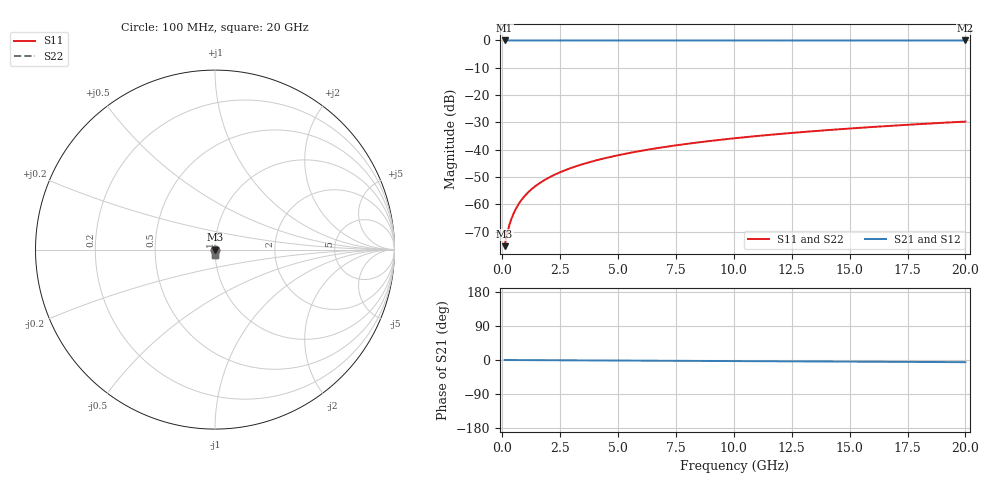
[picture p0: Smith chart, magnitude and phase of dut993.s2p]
! Touchstone file exported from HFSS 2026.1.0
!  File:  C:/ffzhzh/LocalFiles/Ansys_Project_Files/temp_train_TSV_993_1783188207_51560.aedt
!  Generated:  02:04:52 AM Jul  5, 2026
!  Design:  TSV
!  Project:  temp_train_TSV_993_1783188207_51560
! Variables:
!  h_bsmrdl = 2um
!  h_ox = 20um
!  h_rdl = 5um
!  h_sub = 55.47um
!  h_tmrdl = 5um
!  h_tsv = 55.47um
!  h_via = 3um
!  l_bsmrdl = 300um
!  l_sub = 418.2um
!  l_tmrdl = 200um
!  m_sub = 200um
!  pitch = 27.15um
!  r_tsv = 9.1um
!  s_tmrdl = 10um
!  w_bsmrdl = 18um
!  w_sub = 500um
!  w_tmrdl = 12um
!  x_tsv_center1 = 206um
!  x_tsv_center2 = 524um
!  x_tsv_center3 = 736um
!  x_tsv_center4 = 1054um
!  x_tsv_center5 = 1266um
!  x_tsv_center6 = 1584um
# GHz S MA R 50.000000
! Terminal data exported
! Port[1] = TSV1_1_T1
! Port[2] = TSV1_1_T2
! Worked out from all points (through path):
!   200 points, 100 MHz to 20 GHz, reference 50 ohm
!   highest |S21| = 0.00 dB at 100 MHz (marker M1); lowest = 0.0 dB at 20 GHz (marker M2)
!   lowest |S11| = -75.3 dB at 100 MHz (marker M3), VSWR 1.00, Z = 50 - j0.0123 ohm
!   |S11| at or under -10 dB: start of sweep to end of sweep
!   |S22| runs from -75.3 to -29.7 dB; largest |S21 - S12| = 7.6e-15
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0.1  0.0001715 -45.7  0.9999 -0.0  0.9999 -0.0  0.0001715 -45.7
! Gamma 0 0 0 0
! Port Impedance 50 0 50 0
0.2  0.0002824 -61.9  0.9999 -0.1  0.9999 -0.1  0.0002824 -61.9
0.3  0.0004109 -68.3  0.9998 -0.1  0.9998 -0.1  0.0004109 -68.3
0.4  0.0005495 -71.5  0.9998 -0.1  0.9998 -0.1  0.0005495 -71.5
0.5  0.0006952 -73.6  0.9998 -0.2  0.9998 -0.2  0.0006952 -73.6
0.6  0.000846 -75.2  0.9998 -0.2  0.9998 -0.2  0.000846 -75.2
0.8  0.001157 -77.4  0.9997 -0.2  0.9997 -0.2  0.001157 -77.4
1.1  0.001633 -79.8  0.9997 -0.3  0.9997 -0.3  0.001633 -79.8
1.3  0.001953 -81.0  0.9997 -0.4  0.9997 -0.4  0.001953 -81.0
1.5  0.002272 -81.9  0.9997 -0.4  0.9997 -0.4  0.002272 -81.9
1.8  0.002752 -83.0  0.9996 -0.5  0.9996 -0.5  0.002752 -83.0
2.1  0.003232 -83.8  0.9996 -0.6  0.9996 -0.6  0.003232 -83.8
2.7  0.004193 -85.0  0.9996 -0.8  0.9996 -0.8  0.004193 -85.0
3.5  0.005481 -86.0  0.9995 -1.0  0.9995 -1.0  0.005481 -86.0
4.2  0.006615 -86.7  0.9995 -1.2  0.9995 -1.2  0.006615 -86.7
5  0.007918 -87.3  0.9994 -1.4  0.9994 -1.4  0.007918 -87.3
6.8  0.01087 -88.4  0.9993 -2.0  0.9993 -2.0  0.01087 -88.4
8.3  0.01334 -89.2  0.9992 -2.4  0.9992 -2.4  0.01334 -89.2
10.1  0.01632 -90.0  0.999 -2.9  0.999 -2.9  0.01632 -90.0
13.4  0.02179 -91.3  0.9988 -3.8  0.9988 -3.8  0.02179 -91.3
16.7  0.02726 -92.5  0.9986 -4.8  0.9986 -4.8  0.02726 -92.5
20  0.03274 -93.7  0.9983 -5.7  0.9983 -5.7  0.03274 -93.7
